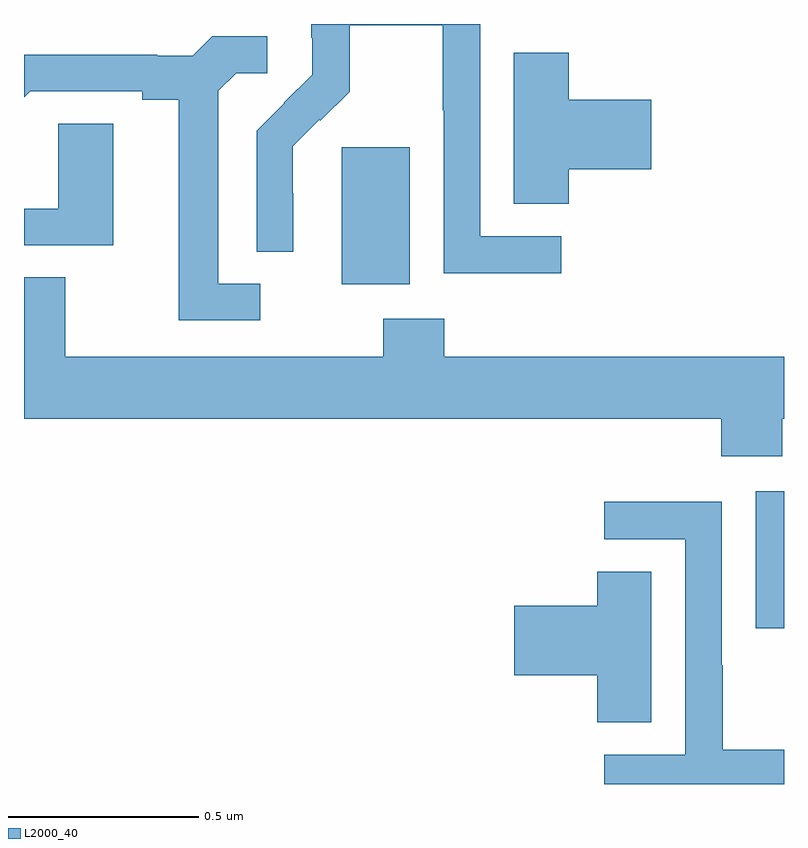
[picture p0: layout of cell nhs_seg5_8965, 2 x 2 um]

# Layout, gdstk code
import gdstk
lib = gdstk.Library(unit=1e-6, precision=1e-09)
def R(c, l, rs):  # rectangles x0, y0, x1, y1
    for r in rs: c.add(gdstk.rectangle(r[:2], r[2:], *l))
def P(c, l, *ps):  # polygons
    for p in ps: c.add(gdstk.Polygon(p, *l))
L2000_40 = (2000, 40)

nhs_seg5_8965 = lib.new_cell('nhs_seg5_8965')
R(nhs_seg5_8965, L2000_40, [(229.925,856.209,230,856.57), (228.836,857.114,229.015,857.475)])
P(nhs_seg5_8965, L2000_40, [(229.414,857.241),(229.2,857.241),(229.2,857.799),(228.756,857.799),(228.756,857.763),(228.758,857.763),(228.758,857.666),(228.684,857.592),(228.685,857.591),(228.612,857.518),(228.612,857.2),(228.708,857.2),(228.708,857.354),(228.707,857.354),(228.707,857.477),(228.777,857.547),(228.78,857.544),(228.857,857.621),(228.857,857.796),(229.102,857.796),(229.102,857.572),(229.104,857.572),(229.104,857.143),(229.414,857.143)],
  [(228.622,857.115),(228.511,857.115),(228.511,857.623),(228.558,857.67),(228.64,857.67),(228.64,857.767),(228.496,857.767),(228.444,857.715),(228.35,857.715),(228.35,857.718),(228,857.718),(228,857.606),(228.016,857.622),(228.311,857.622),(228.311,857.6),(228.407,857.6),(228.407,857.019),(228.622,857.019)],
  [(229.433,857.417),(229.651,857.417),(229.651,857.6),(229.433,857.6),(229.433,857.723),(229.289,857.723),(229.289,857.326),(229.433,857.326)],
  [(228.235,857.537),(228.09,857.537),(228.09,857.313),(228,857.313),(228,857.217),(228.235,857.217)],
  [(229.995,856.76),(230,856.76),(230,856.924),(229.106,856.924),(229.106,857.023),(228.946,857.023),(228.946,856.924),(228.109,856.924),(228.109,857.132),(228,857.132),(228,856.76),(229.835,856.76),(229.835,856.661),(229.995,856.661)],
  [(230,855.889),(229.839,855.889),(229.839,856.112),(229.836,856.112),(229.836,856.542),(229.527,856.542),(229.527,856.443),(229.74,856.443),(229.74,855.876),(229.527,855.876),(229.527,855.799),(230,855.799)],
  [(229.651,856.358),(229.508,856.358),(229.508,856.268),(229.29,856.268),(229.29,856.085),(229.508,856.085),(229.508,855.961),(229.651,855.961)])

lib.write_gds('nhs_seg5_8965.gds')
